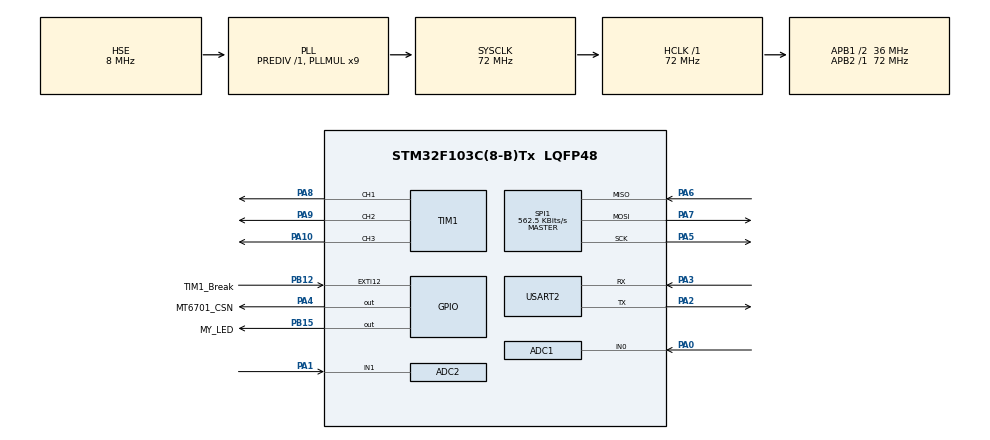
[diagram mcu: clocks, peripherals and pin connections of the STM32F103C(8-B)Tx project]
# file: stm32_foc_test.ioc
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ADC1.Channel-1\#ChannelInjectedConversion=ADC_CHANNEL_0
ADC1.ContinuousConvMode=ENABLE
ADC1.EnableAnalogWatchDog=false
ADC1.EnableInjectedConversion=ENABLE
ADC1.EnableRegularConversion=DISABLE
ADC1.ExternalTrigInjecConv=ADC_EXTERNALTRIGINJECCONV_T1_TRGO
ADC1.InjNumberOfConversion=1
ADC1.InjectedOffset-1\#ChannelInjectedConversion=0
ADC1.InjectedRank-1\#ChannelInjectedConversion=1
ADC1.Mode=ADC_DUALMODE_INJECSIMULT
ADC1.SamplingTime-1\#ChannelInjectedConversion=ADC_SAMPLETIME_7CYCLES_5
ADC1.master=1
ADC2.Channel-1\#ChannelInjectedConversion=ADC_CHANNEL_1
ADC2.ContinuousConvMode=ENABLE
ADC2.EnableInjectedConversion=ENABLE
ADC2.EnableRegularConversion=DISABLE
ADC2.InjNumberOfConversion=1
ADC2.InjectedOffset-1\#ChannelInjectedConversion=0
ADC2.InjectedRank-1\#ChannelInjectedConversion=1
ADC2.Mode=ADC_DUALMODE_INJECSIMULT
ADC2.SamplingTime-1\#ChannelInjectedConversion=ADC_SAMPLETIME_7CYCLES_5
Dma.Request0=SPI1_RX
Dma.Request1=SPI1_TX
Dma.SPI1_RX.0.Direction=DMA_PERIPH_TO_MEMORY
Dma.SPI1_RX.0.Instance=DMA1_Channel2
Dma.SPI1_RX.0.MemDataAlignment=DMA_MDATAALIGN_BYTE
Dma.SPI1_RX.0.MemInc=DMA_MINC_ENABLE
Dma.SPI1_RX.0.Mode=DMA_NORMAL
Dma.SPI1_RX.0.PeriphDataAlignment=DMA_PDATAALIGN_BYTE
Dma.SPI1_RX.0.PeriphInc=DMA_PINC_DISABLE
Dma.SPI1_RX.0.Priority=DMA_PRIORITY_LOW
Dma.SPI1_TX.1.Direction=DMA_MEMORY_TO_PERIPH
Dma.SPI1_TX.1.Instance=DMA1_Channel3
Dma.SPI1_TX.1.MemDataAlignment=DMA_MDATAALIGN_BYTE
Dma.SPI1_TX.1.MemInc=DMA_MINC_ENABLE
Dma.SPI1_TX.1.Mode=DMA_NORMAL
Dma.SPI1_TX.1.PeriphDataAlignment=DMA_PDATAALIGN_BYTE
Dma.SPI1_TX.1.PeriphInc=DMA_PINC_DISABLE
Dma.SPI1_TX.1.Priority=DMA_PRIORITY_LOW
Mcu.Family=STM32F1
Mcu.Name=STM32F103C(8-B)Tx
Mcu.Package=LQFP48
Mcu.UserConstants=speed_calc_freq,motor_speed_calc_freq;pwm_freq,motor_pwm_freq
NVIC.ADC1_2_IRQn=true\:1\:0\:true\:false\:true\:true\:true\:true
NVIC.DMA1_Channel2_IRQn=true\:0\:0\:false\:false\:true\:false\:true\:true
NVIC.DMA1_Channel3_IRQn=true\:0\:0\:false\:false\:true\:false\:true\:true
NVIC.EXTI15_10_IRQn=true\:3\:0\:true\:false\:true\:true\:true\:true
NVIC.PriorityGroup=NVIC_PRIORITYGROUP_4
NVIC.TIM3_IRQn=true\:1\:0\:true\:false\:true\:true\:true\:true
PA0-WKUP.Signal=ADCx_IN0
PA1.Signal=ADCx_IN1
PA10.Signal=S_TIM1_CH3
PA13.Mode=Serial_Wire
PA13.Signal=SYS_JTMS-SWDIO
PA14.Mode=Serial_Wire
PA14.Signal=SYS_JTCK-SWCLK
PA2.Mode=Asynchronous
PA2.Signal=USART2_TX
PA3.Mode=Asynchronous
PA3.Signal=USART2_RX
PA4.GPIO_Label=MT6701_CSN
PA4.Signal=GPIO_Output
PA5.Mode=Full_Duplex_Master
PA5.Signal=SPI1_SCK
PA6.Mode=Full_Duplex_Master
PA6.Signal=SPI1_MISO
PA7.Mode=Full_Duplex_Master
PA7.Signal=SPI1_MOSI
PA8.Signal=S_TIM1_CH1
PA9.Signal=S_TIM1_CH2
PB12.GPIO_Label=TIM1_Break
PB12.Signal=GPXTI12
PB15.GPIO_Label=MY_LED
PB15.Signal=GPIO_Output
PD0-OSC_IN.Mode=HSE-External-Oscillator
PD0-OSC_IN.Signal=RCC_OSC_IN
PD1-OSC_OUT.Mode=HSE-External-Oscillator
PD1-OSC_OUT.Signal=RCC_OSC_OUT
ProjectManager.HeapSize=0x200
ProjectManager.StackSize=0x400
ProjectManager.TargetToolchain=MDK-ARM V5.32
RCC.ADCPresc=RCC_ADCPCLK2_DIV6
RCC.AHBFreq_Value=72000000
RCC.APB1CLKDivider=RCC_HCLK_DIV2
RCC.APB1Freq_Value=36000000
RCC.APB1TimFreq_Value=72000000
RCC.APB2Freq_Value=72000000
RCC.APB2TimFreq_Value=72000000
RCC.HCLKFreq_Value=72000000
RCC.PLLMUL=RCC_PLL_MUL9
RCC.PLLSourceVirtual=RCC_PLLSOURCE_HSE
RCC.SYSCLKFreq_VALUE=72000000
RCC.SYSCLKSource=RCC_SYSCLKSOURCE_PLLCLK
RCC.USBFreq_Value=72000000
SH.ADCx_IN0.0=ADC1_IN0,IN0
SH.ADCx_IN1.0=ADC2_IN1,IN1
SH.S_TIM1_CH1.0=TIM1_CH1,PWM Generation1 CH1
SH.S_TIM1_CH2.0=TIM1_CH2,PWM Generation2 CH2
SH.S_TIM1_CH3.0=TIM1_CH3,PWM Generation3 CH3
SPI1.BaudRatePrescaler=SPI_BAUDRATEPRESCALER_128
SPI1.CLKPhase=SPI_PHASE_2EDGE
SPI1.CalculateBaudRate=562.5 KBits/s
SPI1.Direction=SPI_DIRECTION_2LINES
SPI1.Mode=SPI_MODE_MASTER
SPI1.VirtualType=VM_MASTER
STMicroelectronics.X-CUBE-ALGOBUILD.1.4.0.LibraryCcDSPOoLibraryJjDSPOoLibrary=true
TIM1.AutoReloadPreload=TIM_AUTORELOAD_PRELOAD_ENABLE
TIM1.BreakPolarity=TIM_BREAKPOLARITY_LOW
TIM1.Channel-PWM\ Generation1\ CH1=TIM_CHANNEL_1
TIM1.Channel-PWM\ Generation2\ CH2=TIM_CHANNEL_2
TIM1.Channel-PWM\ Generation3\ CH3=TIM_CHANNEL_3
TIM1.CounterMode=TIM_COUNTERMODE_CENTERALIGNED3
TIM1.LockLevel=TIM_LOCKLEVEL_1
TIM1.Period=(72*1000000/motor_pwm_freq)
TIM1.RepetitionCounter=4
TIM1.TIM_MasterOutputTrigger=TIM_TRGO_UPDATE
TIM3.Period=1000000/speed_calc_freq
TIM3.Prescaler=72-1
USART2.VirtualMode=VM_ASYNC
VP_STMicroelectronics.X-CUBE-ALGOBUILD_VS_DSPOoLibraryJjLibrary_1.4.0_1.4.0.Mode=DSPOoLibraryJjLibrary
VP_TIM1_VS_ClockSourceINT.Mode=Internal
VP_TIM3_VS_ClockSourceINT.Mode=Internal
board=custom

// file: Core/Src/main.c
/* USER CODE BEGIN Header */
/**
 ******************************************************************************
 * @file           : main.c
 * @brief          : Main program body
 ******************************************************************************
 * @attention
 *
 * Copyright (c) 2024 STMicroelectronics.
 * All rights reserved.
 *
 * This software is licensed under terms that can be found in the LICENSE file
 * in the root directory of this software component.
 * If no LICENSE file comes with this software, it is provided AS-IS.
 *
 ******************************************************************************
 */
#if defined(__ARMCC_VERSION) && (__ARMCC_VERSION < 6000000)
#error "不支持使用 Keil ARM Compiler V5编译器，请使用 Keil ARM Compiler V6编译"
#endif
/* USER CODE END Header */
#include "main.h"
#include "adc.h"
#include "dma.h"
#include "spi.h"
#include "tim.h"
#include "usart.h"
#include "gpio.h"

/* USER CODE BEGIN Includes */
#include <stdio.h>
#include "motor/motor_runtime_param.h"
#include "motor/foc.h"
#include "global_def.h"
/* USER CODE END Includes */

void SystemClock_Config(void);

/* USER CODE BEGIN 0 */
void set_pwm_duty(float d_u, float d_v, float d_w)
{
  d_u = min(d_u, 0.9); // 留出10%的电流采样时间
  d_v = min(d_v, 0.9);
  d_w = min(d_w, 0.9);
  __disable_irq();
  __HAL_TIM_SET_COMPARE(&htim1, TIM_CHANNEL_1, d_u * htim1.Instance->ARR);
  __HAL_TIM_SET_COMPARE(&htim1, TIM_CHANNEL_2, d_v * htim1.Instance->ARR);
  __HAL_TIM_SET_COMPARE(&htim1, TIM_CHANNEL_3, d_w * htim1.Instance->ARR);
  __enable_irq();
}
/* USER CODE END 0 */

int main(void)
{

  /* MCU Configuration--------------------------------------------------------*/

  /* Reset of all peripherals, Initializes the Flash interface and the Systick. */
  HAL_Init();

  /* Configure the system clock */
  SystemClock_Config();

  /* Initialize all configured peripherals */
  MX_GPIO_Init();
  MX_DMA_Init();
  MX_SPI1_Init();
  MX_USART2_UART_Init();
  MX_TIM1_Init();
  MX_TIM3_Init();
  MX_ADC1_Init();
  MX_ADC2_Init();
  /* USER CODE BEGIN 2 */
  set_motor_pid(
      3.5, 0, 7,
      0.02, 0.001, 0,
      1.2, 0.2, 0,
      1.2, 0.2, 0);

  extern uint8_t mt6701_rx_data[3];
  HAL_GPIO_WritePin(GPIOA, GPIO_PIN_4, GPIO_PIN_RESET);
  HAL_SPI_TransmitReceive_DMA(&hspi1, mt6701_rx_data, mt6701_rx_data, 3);
  HAL_Delay(10); // 延时一会，让角度变量被赋值，不然默认角度是0
  HAL_TIM_PWM_Start(&htim1, TIM_CHANNEL_1);
  HAL_TIM_PWM_Start(&htim1, TIM_CHANNEL_2);
  HAL_TIM_PWM_Start(&htim1, TIM_CHANNEL_3);
  HAL_TIM_Base_Start_IT(&htim3);
  HAL_ADCEx_Calibration_Start(&hadc1);
  HAL_ADCEx_Calibration_Start(&hadc2);
  HAL_ADCEx_InjectedStart_IT(&hadc1);
  HAL_ADCEx_InjectedStart(&hadc2);
  set_pwm_duty(0.5, 0, 0); // d轴强拖，形成SVPWM模型中的基础矢量1，即对应转子零度位置
  HAL_Delay(400);          // 保持一会
  rotor_zero_angle = encoder_angle;
  set_pwm_duty(0, 0, 0); // 松开电机
  HAL_Delay(100);
  /* USER CODE END 2 */

  /* Infinite loop */
  /* USER CODE BEGIN WHILE */
  motor_control_context.torque_norm_d = 0;
  motor_control_context.torque_norm_q = 0.4; // 百分比强度
  motor_control_context.type = control_type_torque;
  HAL_Delay(1000);
  motor_control_context.position = deg2rad(90);
  motor_control_context.type = control_type_position;
  // 速度模式
  // motor_control_context.speed = 30;       //每秒转30弧度
  // motor_control_context.type = control_type_speed;
  // 理论讲解以及FOC代码逐步实现讲解请前往查看：https://blog.csdn.net/qq570437459/category_12672491.html
  while (1)
  {
    printf("%.3f\n", motor_logic_angle);
    HAL_Delay(100);
    HAL_GPIO_WritePin(GPIOB, GPIO_PIN_15, GPIO_PIN_SET);
    HAL_Delay(100);
    HAL_GPIO_WritePin(GPIOB, GPIO_PIN_15, GPIO_PIN_RESET);

    /* USER CODE END WHILE */

  }
}

void SystemClock_Config(void)
{
  RCC_OscInitTypeDef RCC_OscInitStruct = {0};
  RCC_ClkInitTypeDef RCC_ClkInitStruct = {0};
  RCC_PeriphCLKInitTypeDef PeriphClkInit = {0};

  /** Initializes the RCC Oscillators according to the specified parameters
   * in the RCC_OscInitTypeDef structure.
   */
  RCC_OscInitStruct.OscillatorType = RCC_OSCILLATORTYPE_HSE;
  RCC_OscInitStruct.HSEState = RCC_HSE_ON;
  RCC_OscInitStruct.HSEPredivValue = RCC_HSE_PREDIV_DIV1;
  RCC_OscInitStruct.HSIState = RCC_HSI_ON;
  RCC_OscInitStruct.PLL.PLLState = RCC_PLL_ON;
  RCC_OscInitStruct.PLL.PLLSource = RCC_PLLSOURCE_HSE;
  RCC_OscInitStruct.PLL.PLLMUL = RCC_PLL_MUL9;
  if (HAL_RCC_OscConfig(&RCC_OscInitStruct) != HAL_OK)
  {
    Error_Handler();
  }

  /** Initializes the CPU, AHB and APB buses clocks
   */
  RCC_ClkInitStruct.ClockType = RCC_CLOCKTYPE_HCLK | RCC_CLOCKTYPE_SYSCLK | RCC_CLOCKTYPE_PCLK1 | RCC_CLOCKTYPE_PCLK2;
  RCC_ClkInitStruct.SYSCLKSource = RCC_SYSCLKSOURCE_PLLCLK;
  RCC_ClkInitStruct.AHBCLKDivider = RCC_SYSCLK_DIV1;
  RCC_ClkInitStruct.APB1CLKDivider = RCC_HCLK_DIV2;
  RCC_ClkInitStruct.APB2CLKDivider = RCC_HCLK_DIV1;

  if (HAL_RCC_ClockConfig(&RCC_ClkInitStruct, FLASH_LATENCY_2) != HAL_OK)
  {
    Error_Handler();
  }
  PeriphClkInit.PeriphClockSelection = RCC_PERIPHCLK_ADC;
  PeriphClkInit.AdcClockSelection = RCC_ADCPCLK2_DIV6;
  if (HAL_RCCEx_PeriphCLKConfig(&PeriphClkInit) != HAL_OK)
  {
    Error_Handler();
  }
}

void Error_Handler(void)
{
  __disable_irq();
  while (1)
  {
  }
}
